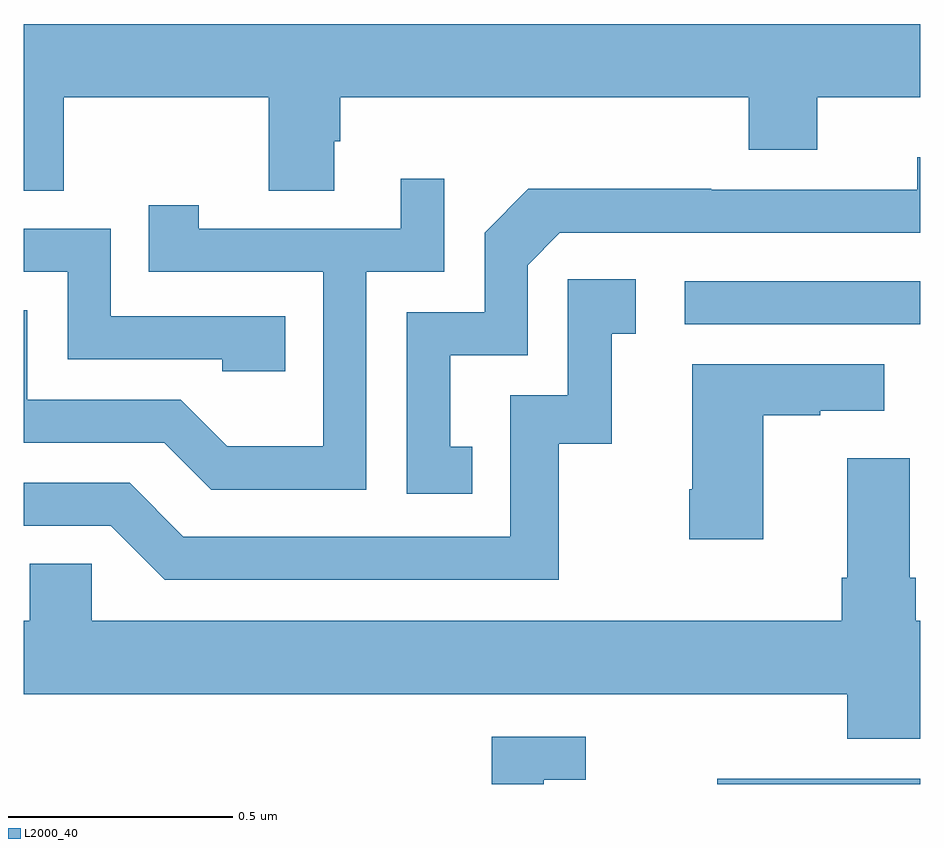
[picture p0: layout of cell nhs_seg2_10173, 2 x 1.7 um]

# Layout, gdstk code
import gdstk
lib = gdstk.Library(unit=1e-6, precision=1e-09)
def R(c, l, rs):  # rectangles x0, y0, x1, y1
    for r in rs: c.add(gdstk.rectangle(r[:2], r[2:], *l))
def P(c, l, *ps):  # polygons
    for p in ps: c.add(gdstk.Polygon(p, *l))
L2000_40 = (2000, 40)

nhs_seg2_10173 = lib.new_cell('nhs_seg2_10173')
R(nhs_seg2_10173, L2000_40, [(239.547,616.8,240,616.812), (239.475,617.826,240,617.922)])
P(nhs_seg2_10173, L2000_40, [(238,618.124),(238.089,618.124),(238.089,618.332),(238.546,618.332),(238.546,618.124),(238.693,618.124),(238.693,618.234),(238.706,618.234),(238.706,618.332),(239.618,618.332),(239.618,618.215),(239.77,618.215),(239.77,618.332),(240,618.332),(240,618.496),(238,618.496)],
  [(239,617.553),(238.951,617.553),(238.951,617.757),(239.124,617.757),(239.124,617.958),(239.196,618.03),(240,618.03),(240,618.199),(239.994,618.199),(239.994,618.126),(239.534,618.126),(239.534,618.128),(239.126,618.128),(239.028,618.03),(239.028,617.853),(238.854,617.853),(238.854,617.448),(239,617.448)],
  [(238.764,617.943),(238.938,617.943),(238.938,618.151),(238.841,618.151),(238.841,618.039),(238.39,618.039),(238.39,618.091),(238.279,618.091),(238.279,617.943),(238.668,617.943),(238.668,617.554),(238.454,617.554),(238.35,617.658),(238.008,617.658),(238.008,617.857),(238,617.857),(238,617.562),(238.313,617.562),(238.418,617.457),(238.764,617.457)],
  [(238.583,617.844),(238.194,617.844),(238.194,618.039),(238,618.039),(238,617.943),(238.098,617.943),(238.098,617.748),(238.443,617.748),(238.443,617.721),(238.583,617.721)],
  [(239.194,617.559),(239.312,617.559),(239.312,617.805),(239.365,617.805),(239.365,617.926),(239.214,617.926),(239.214,617.667),(239.085,617.667),(239.085,617.352),(238.356,617.352),(238.236,617.472),(238,617.472),(238,617.376),(238.194,617.376),(238.314,617.256),(239.194,617.256)],
  [(239.65,617.623),(239.777,617.623),(239.777,617.633),(239.92,617.633),(239.92,617.737),(239.492,617.737),(239.492,617.458),(239.485,617.458),(239.485,617.346),(239.65,617.346)],
  [(240,617.164),(239.99,617.164),(239.99,617.26),(239.977,617.26),(239.977,617.527),(239.837,617.527),(239.837,617.26),(239.825,617.26),(239.825,617.164),(238.152,617.164),(238.152,617.291),(238.013,617.291),(238.013,617.164),(238,617.164),(238,617),(239.837,617),(239.837,616.901),(240,616.901)],
  [(239.16,616.809),(239.254,616.809),(239.254,616.905),(239.044,616.905),(239.044,616.8),(239.16,616.8)])

lib.write_gds('nhs_seg2_10173.gds')
